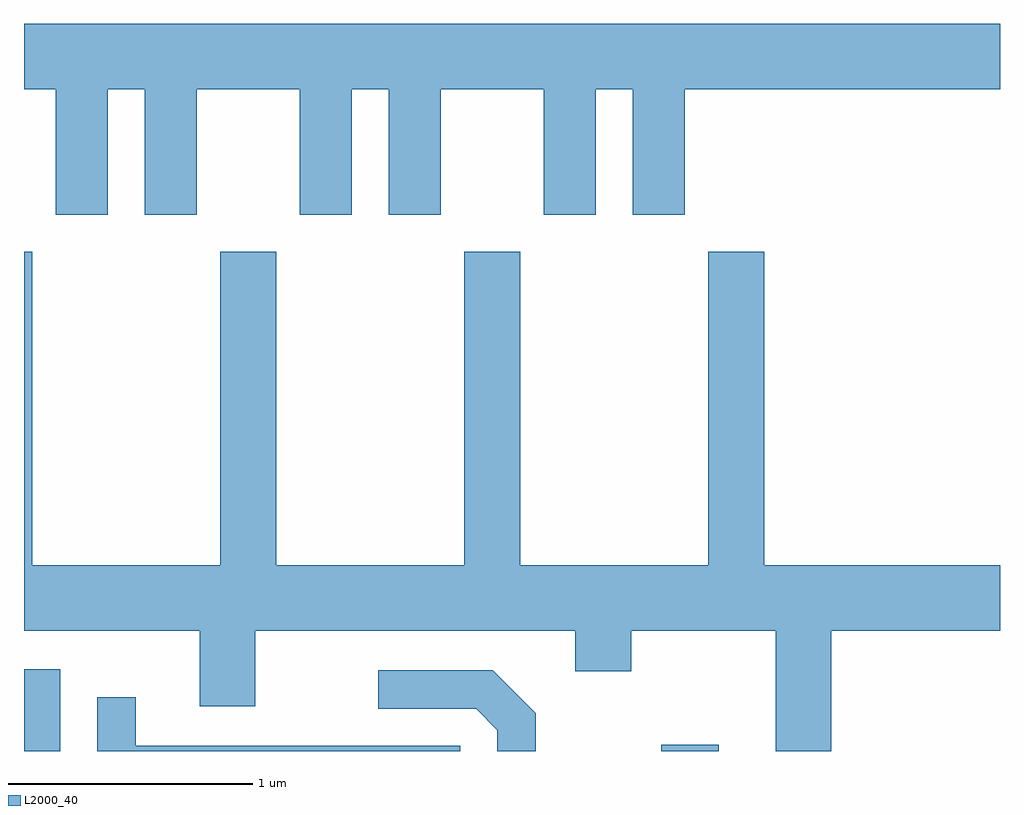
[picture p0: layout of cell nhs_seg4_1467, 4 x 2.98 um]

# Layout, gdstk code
import gdstk
lib = gdstk.Library(unit=1e-6, precision=1e-09)
def R(c, l, rs):  # rectangles x0, y0, x1, y1
    for r in rs: c.add(gdstk.rectangle(r[:2], r[2:], *l))
def P(c, l, *ps):  # polygons
    for p in ps: c.add(gdstk.Polygon(p, *l))
L2000_40 = (2000, 40)

nhs_seg4_1467 = lib.new_cell('nhs_seg4_1467')
R(nhs_seg4_1467, L2000_40, [(227.611,1331.982,227.759,1332.319), (230.223,1331.982,230.459,1332.009)])
P(nhs_seg4_1467, L2000_40, [(227.954,1334.696),(228.106,1334.696),(228.106,1334.181),(228.319,1334.181),(228.319,1334.696),(228.741,1334.696),(228.741,1334.181),(228.954,1334.181),(228.954,1334.696),(229.106,1334.696),(229.106,1334.181),(229.319,1334.181),(229.319,1334.696),(229.741,1334.696),(229.741,1334.181),(229.954,1334.181),(229.954,1334.696),(230.106,1334.696),(230.106,1334.181),(230.319,1334.181),(230.319,1334.696),(231.611,1334.696),(231.611,1334.964),(227.611,1334.964),(227.611,1334.696),(227.741,1334.696),(227.741,1334.181),(227.954,1334.181)],
  [(230.644,1334.029),(230.416,1334.029),(230.416,1332.744),(229.644,1332.744),(229.644,1334.029),(229.416,1334.029),(229.416,1332.744),(228.644,1332.744),(228.644,1334.029),(228.416,1334.029),(228.416,1332.744),(227.644,1332.744),(227.644,1334.029),(227.611,1334.029),(227.611,1332.476),(228.331,1332.476),(228.331,1332.166),(228.559,1332.166),(228.559,1332.476),(229.871,1332.476),(229.871,1332.311),(230.099,1332.311),(230.099,1332.476),(230.691,1332.476),(230.691,1331.982),(230.919,1331.982),(230.919,1332.476),(231.611,1332.476),(231.611,1332.744),(230.644,1332.744)],
  [(229.709,1332.137),(229.532,1332.314),(229.063,1332.314),(229.063,1332.156),(229.464,1332.156),(229.551,1332.069),(229.551,1331.982),(229.709,1331.982)],
  [(229.399,1332.004),(228.069,1332.004),(228.069,1332.203),(227.911,1332.203),(227.911,1331.982),(229.399,1331.982)])

lib.write_gds('nhs_seg4_1467.gds')
